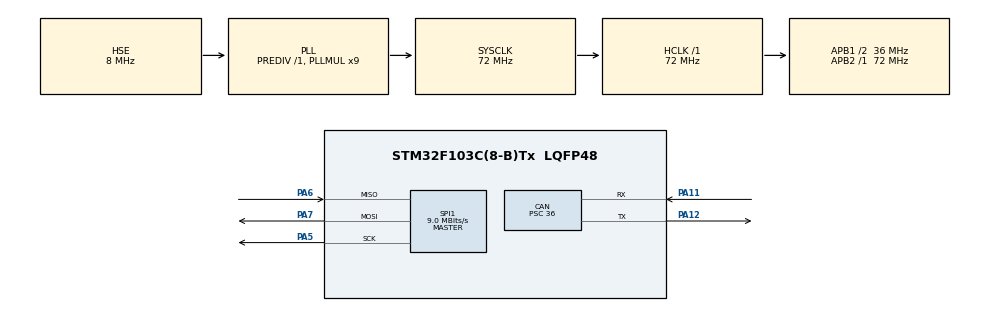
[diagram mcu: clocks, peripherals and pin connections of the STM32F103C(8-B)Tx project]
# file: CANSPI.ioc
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CAN.BS1=CAN_BS1_2TQ
CAN.BS2=CAN_BS2_2TQ
CAN.CalculateBaudRate=200000
CAN.CalculateTimeBit=5000
CAN.CalculateTimeQuantum=1000.0
CAN.Prescaler=36
Mcu.Family=STM32F1
Mcu.Name=STM32F103C(8-B)Tx
Mcu.Package=LQFP48
NVIC.CAN1_RX1_IRQn=true\:0\:0\:false\:false\:true\:true\:true\:true
NVIC.CAN1_SCE_IRQn=true\:0\:0\:false\:false\:true\:true\:true\:true
NVIC.PriorityGroup=NVIC_PRIORITYGROUP_4
NVIC.SPI1_IRQn=true\:0\:0\:false\:false\:true\:true\:true\:true
NVIC.USB_HP_CAN1_TX_IRQn=true\:0\:0\:false\:false\:true\:true\:true\:true
NVIC.USB_LP_CAN1_RX0_IRQn=true\:0\:0\:false\:false\:true\:true\:true\:true
PA11.Mode=CAN_Activate
PA11.Signal=CAN_RX
PA12.Mode=CAN_Activate
PA12.Signal=CAN_TX
PA13.Mode=Serial_Wire
PA13.Signal=SYS_JTMS-SWDIO
PA14.Mode=Serial_Wire
PA14.Signal=SYS_JTCK-SWCLK
PA5.Mode=Full_Duplex_Master
PA5.Signal=SPI1_SCK
PA6.Mode=Full_Duplex_Master
PA6.Signal=SPI1_MISO
PA7.Mode=Full_Duplex_Master
PA7.Signal=SPI1_MOSI
PD0-OSC_IN.Mode=HSE-External-Oscillator
PD0-OSC_IN.Signal=RCC_OSC_IN
PD1-OSC_OUT.Mode=HSE-External-Oscillator
PD1-OSC_OUT.Signal=RCC_OSC_OUT
ProjectManager.HeapSize=0x200
ProjectManager.StackSize=0x400
ProjectManager.TargetToolchain=CMake
RCC.AHBFreq_Value=72000000
RCC.APB1CLKDivider=RCC_HCLK_DIV2
RCC.APB1Freq_Value=36000000
RCC.APB1TimFreq_Value=72000000
RCC.APB2Freq_Value=72000000
RCC.APB2TimFreq_Value=72000000
RCC.HCLKFreq_Value=72000000
RCC.PLLMUL=RCC_PLL_MUL9
RCC.PLLSourceVirtual=RCC_PLLSOURCE_HSE
RCC.SYSCLKFreq_VALUE=72000000
RCC.SYSCLKSource=RCC_SYSCLKSOURCE_PLLCLK
RCC.USBFreq_Value=72000000
SPI1.BaudRatePrescaler=SPI_BAUDRATEPRESCALER_8
SPI1.CalculateBaudRate=9.0 MBits/s
SPI1.Direction=SPI_DIRECTION_2LINES
SPI1.Mode=SPI_MODE_MASTER
SPI1.VirtualType=VM_MASTER
board=custom

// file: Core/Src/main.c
/* USER CODE BEGIN Header */
/**
  ******************************************************************************
  * @file           : main.c
  * @brief          : Main program body
  ******************************************************************************
  * @attention
  *
  * Copyright (c) 2026 STMicroelectronics.
  * All rights reserved.
  *
  * This software is licensed under terms that can be found in the LICENSE file
  * in the root directory of this software component.
  * If no LICENSE file comes with this software, it is provided AS-IS.
  *
  ******************************************************************************
  */
/* USER CODE END Header */
#include "main.h"
#include "can.h"
#include "spi.h"
#include "gpio.h"

/* USER CODE BEGIN Includes */
#include "max7219.h"
#include "can_motor.h"
/* USER CODE END Includes */

/* USER CODE BEGIN PD */
/* Peak speed of the sine sweep, in rpm: the shaft runs forward, coasts through
   zero and runs backwards, so the sign of the command carries the direction. */
#define CAN_SWING_RPM         1000

/* One full sine period, in milliseconds. */
#define CAN_SINE_PERIOD_MS    4000U

/* How often a command frame is queued: 50 frames per second, far below the
   200 kbit/s the pair runs at, and fast enough to look continuous. */
#define CAN_SEND_PERIOD_MS    20U

/* Points of the sine table; must be a power of two divisor of the period. */
#define CAN_SINE_POINTS       64U
/* USER CODE END PD */

/* USER CODE BEGIN PV */
/* sin(2*pi*i / 64) in Q15, so the sweep needs no floating point in the loop. */
static const int16_t can_sine_q15[CAN_SINE_POINTS] =
{
      0,   3212,   6393,   9512,  12539,  15446,  18204,  20787,
  23170,  25329,  27245,  28898,  30273,  31356,  32137,  32609,
  32767,  32609,  32137,  31356,  30273,  28898,  27245,  25329,
  23170,  20787,  18204,  15446,  12539,   9512,   6393,   3212,
      0,  -3212,  -6393,  -9512, -12539, -15446, -18204, -20787,
 -23170, -25329, -27245, -28898, -30273, -31356, -32137, -32609,
 -32767, -32609, -32137, -31356, -30273, -28898, -27245, -25329,
 -23170, -20787, -18204, -15446, -12539,  -9512,  -6393,  -3212,
};

/* Target speed of the sweep at `elapsed_ms`, in rpm. */
static int16_t can_sine_rpm(uint32_t elapsed_ms)
{
  uint32_t phase = ((elapsed_ms % CAN_SINE_PERIOD_MS) * CAN_SINE_POINTS)
                   / CAN_SINE_PERIOD_MS;
  int32_t scaled = ((int32_t)can_sine_q15[phase] * CAN_SWING_RPM) / 32767;

  return (int16_t)scaled;
}
/* USER CODE END PV */

void SystemClock_Config(void);

int main(void)
{

  /* MCU Configuration--------------------------------------------------------*/

  /* Reset of all peripherals, Initializes the Flash interface and the Systick. */
  HAL_Init();

  /* Configure the system clock */
  SystemClock_Config();

  /* Initialize all configured peripherals */
  MX_GPIO_Init();
  MX_CAN_Init();
  MX_SPI1_Init();
  /* USER CODE BEGIN 2 */
  /* SPI1 drives a single MAX7219 8x8 module: light it up and draw a heart. */
  MAX7219_Init();
  MAX7219_ShowHeart();

  /* CAN1 commands the motor of the bench (standard frame 0x200). */
  CAN_Motor_Init();

  /* Clock of the speed sweep. */
  uint32_t sweep_start = HAL_GetTick();
  uint32_t next_frame = sweep_start;

  /* USER CODE END 2 */

  /* Infinite loop */
  while (1)
  {

    /* USER CODE BEGIN 3 */
    /* One command frame every CAN_SEND_PERIOD_MS, so the shaft follows a
       continuous sine instead of stepping between a few fixed speeds. */
    uint32_t now = HAL_GetTick();
    if ((int32_t)(now - next_frame) >= 0)
    {
      int16_t rpm = can_sine_rpm(now - sweep_start);

      (void)CAN_Motor_SetSpeedRpm(rpm);

      /* The heart glows with the speed: still at a standstill, brightest at
         full swing. */
      uint32_t magnitude = (rpm < 0) ? (uint32_t)(-rpm) : (uint32_t)rpm;
      uint32_t level = 7U + (magnitude * 8U) / CAN_SWING_RPM;
      MAX7219_SetIntensity((uint8_t)((level > 15U) ? 15U : level));

      next_frame += CAN_SEND_PERIOD_MS;
      if ((int32_t)(now - next_frame) >= 0)
      {
        /* A long HAL_Delay (or a debug halt) made us late: resynchronise
           instead of firing a burst of catch-up frames. */
        next_frame = now + CAN_SEND_PERIOD_MS;
      }
    }
  }
  /* USER CODE END 3 */
}

void SystemClock_Config(void)
{
  RCC_OscInitTypeDef RCC_OscInitStruct = {0};
  RCC_ClkInitTypeDef RCC_ClkInitStruct = {0};

  /** Initializes the RCC Oscillators according to the specified parameters
  * in the RCC_OscInitTypeDef structure.
  */
  RCC_OscInitStruct.OscillatorType = RCC_OSCILLATORTYPE_HSE;
  RCC_OscInitStruct.HSEState = RCC_HSE_ON;
  RCC_OscInitStruct.HSEPredivValue = RCC_HSE_PREDIV_DIV1;
  RCC_OscInitStruct.HSIState = RCC_HSI_ON;
  RCC_OscInitStruct.PLL.PLLState = RCC_PLL_ON;
  RCC_OscInitStruct.PLL.PLLSource = RCC_PLLSOURCE_HSE;
  RCC_OscInitStruct.PLL.PLLMUL = RCC_PLL_MUL9;
  if (HAL_RCC_OscConfig(&RCC_OscInitStruct) != HAL_OK)
  {
    Error_Handler();
  }

  /** Initializes the CPU, AHB and APB buses clocks
  */
  RCC_ClkInitStruct.ClockType = RCC_CLOCKTYPE_HCLK|RCC_CLOCKTYPE_SYSCLK
                              |RCC_CLOCKTYPE_PCLK1|RCC_CLOCKTYPE_PCLK2;
  RCC_ClkInitStruct.SYSCLKSource = RCC_SYSCLKSOURCE_PLLCLK;
  RCC_ClkInitStruct.AHBCLKDivider = RCC_SYSCLK_DIV1;
  RCC_ClkInitStruct.APB1CLKDivider = RCC_HCLK_DIV2;
  RCC_ClkInitStruct.APB2CLKDivider = RCC_HCLK_DIV1;

  if (HAL_RCC_ClockConfig(&RCC_ClkInitStruct, FLASH_LATENCY_2) != HAL_OK)
  {
    Error_Handler();
  }
}

void Error_Handler(void)
{
  __disable_irq();
  while (1)
  {
  }
}
